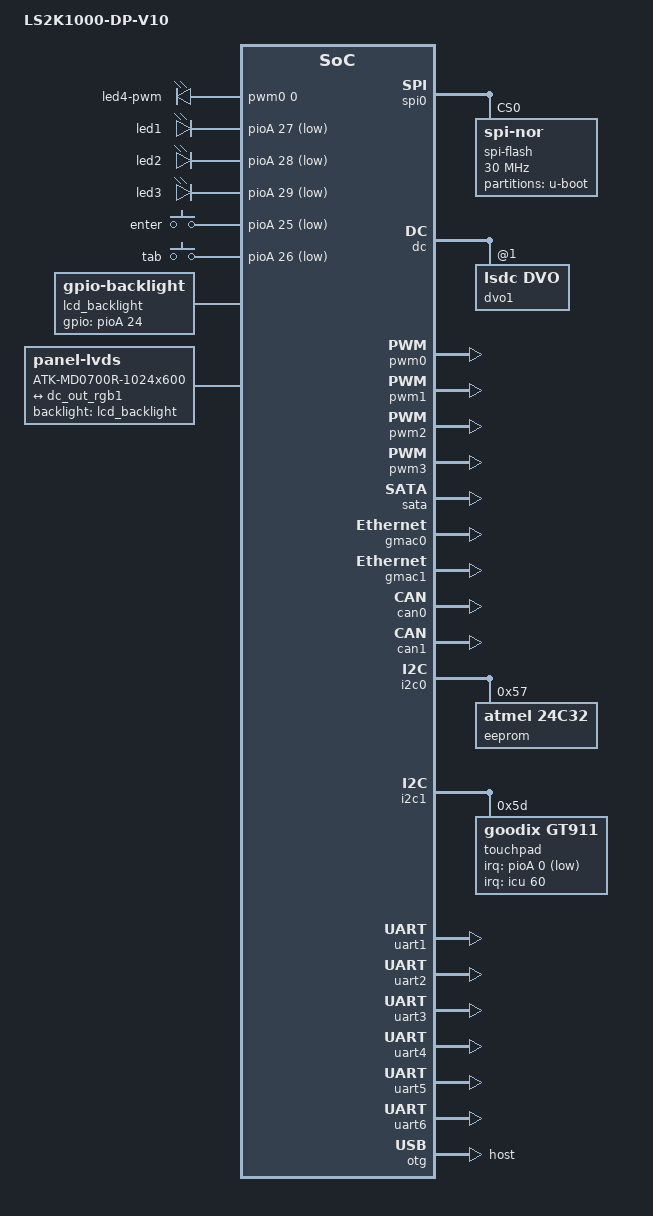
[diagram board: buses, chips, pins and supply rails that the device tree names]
#include "loongson2k1000.dtsi"
#include "loongson_panel_param.dtsi"

/ {
	model = "LS2K1000-DP-V10";

	chosen {
		stdout-path = "serial0:115200n8";
		bootargs = "earlycon";
	};

	/* not need memory node, we get memory info from boot params. */
	// memory {
	// 	name = "memory";
	// 	device_type = "memory";
	// 	reg =  <0 0x00200000 0 0x0ee00000
	// 		0 0x90000000 0 0x70000000>;
	// };

	reserved-memory {
		#address-cells = <2>;
		#size-cells = <2>;
		ranges;

		fb_memory: framebuffer {
			compatible = "shared-dma-pool";
			no-map;
			reg = <0 0x0b000000 0 0x04000000>; /* 64M */
		};

		linux,cma {
			compatible = "shared-dma-pool";
			reusable;
			size = <0 0x2000000>;
			linux,cma-default;
		};
	};

	pwmleds {
		compatible = "pwm-leds";

		led4 {
			label = "led4-pwm";
			pwms = <&pwm0 0 2550000>;
			max-brightness = <255>;
		};
	};

	leds {
		compatible = "gpio-leds";

		led1 {
			label = "led1";
			gpios = <&pioA 27 GPIO_ACTIVE_LOW>;
			linux,default-trigger = "heartbeat";
			default-state = "on";
		};

		led2 {
			label = "led2";
			gpios = <&pioA 28 GPIO_ACTIVE_LOW>;
			default-state = "off";
		};

		led3 {
			label = "led3";
			gpios = <&pioA 29 GPIO_ACTIVE_LOW>;
			default-state = "off";
		};
	};

	gpio_keys {
		compatible = "gpio-keys-polled";
		#address-cells = <1>;
		#size-cells = <0>;
		poll-interval = <20>;

		enter {
			label = "enter";
			linux,code = <28>;
			gpios = <&pioA 25 GPIO_ACTIVE_LOW>;
		};

		tab {
			label = "tab";
			linux,code = <15>;
			gpios = <&pioA 26 GPIO_ACTIVE_LOW>;
		};
	};

	lcd_backlight: backlight {
		compatible = "gpio-backlight";
		gpios = <&pioA 24 GPIO_ACTIVE_HIGH>;
		status = "okay";
	};

	panel: dvo-connector@0 {
		#address-cells = <1>;
		#size-cells = <0>;
		compatible = "panel-lvds", "auo,b101ean01";
		backlight = <&lcd_backlight>;

		/* lcd power on control gpio */
		/* enable-gpios = <&pioA 3 GPIO_ACTIVE_HIGH>; */
		// power-supply = <&vdd_lcd>;
		width-mm = <180>;
		height-mm = <110>;
		label = "ATK-MD0700R-1024x600";
		data-mapping = "jeida-24";

		status = "okay";

		panel-timing {
			clock-frequency = <51200000>;
			hactive = <1024>;
			vactive = <600>;
			hsync-len = <20>;
			hfront-porch = <160>;
			hback-porch = <140>;
			vfront-porch = <12>;
			vback-porch = <20>;
			vsync-len = <3>;
			de-active = <1>;
			hsync-active = <0>;
			vsync-active = <0>;
			pixelclk-active = <0>;
		};

		port@0 {
			reg = <0>;

			#address-cells = <1>;
			#size-cells = <0>;

			dvo_connector_in: endpoint@0 {
				reg = <0>;
				remote-endpoint = <&dc_out_rgb1>;
			};
		};
	};
};

&spi0 {
	status = "okay";

	spi-flash@0 {
		compatible = "jedec,spi-nor";
		spi-max-frequency = <30000000>;
		reg = <0>; /* CS0 */

		partitions {
			compatible = "fixed-partitions";
			#address-cells = <1>;
			#size-cells = <1>;

			partition@0 {
				label = "u-boot";
				reg = <0x0000000 0x100000>;
				read-only;
			};
		};
	};
};


&dc {
	status = "okay";
	#address-cells = <1>;
	#size-cells = <0>;
	memory-region = <&fb_memory>;

	// output-ports = <&dvo0>;

	dvo1: dvo@1 {
		compatible = "lsdc,dvo";
		/* 1 for connector 1 (DVO1) */
		reg = <1>;

		pinctrl-0 = <&dvo1_default>;
		pinctrl-names = "default";
	};

	ports {
		#address-cells = <1>;
		#size-cells = <0>;

		port@1 {
			reg = <1>;
			dc_out_rgb1: endpoint {
				remote-endpoint = <&dvo_connector_in>;
			};
		};
	};
};

&pwm0 {
	status = "okay";
};

&pwm1 {
	status = "okay";
};

&pwm2 {
	status = "okay";
};

&pwm3 {
	status = "okay";
};

&sata {
	status = "okay";
	pinctrl-0 = <&ahci_default>;
	pinctrl-names = "default";
	ports-implemented = <0x1>;
};

&gmac0 {
	status = "okay";
};

&gmac1 {
	status = "okay";
};


&can0 {
	//nxp,external-clock-frequency = <125000000>;
	clocks = <&clks CLK_CAN>;
	net,tx_queue_len = <1024>;
	status = "okay";
};

&can1 {
	//nxp,external-clock-frequency = <125000000>;
	clocks = <&clks CLK_CAN>;
	net,tx_queue_len = <1024>;
	status = "okay";
};

&i2c0 {
	status = "okay";

	eeprom@57 {
		compatible = "atmel,24c32";
		reg = <0x57>;
		pagesize = <32>;
	};
};

&i2c1 {
	status = "okay";

	touchpad: gt911@5d {
		compatible = "goodix,gt911";
		reg = <0x5d>;
		interrupt-parent = <&icu>;
		interrupts = <60>;
		irq-gpios = <&pioA 0 GPIO_ACTIVE_LOW>;
	};
};

&uart1 {
	status = "okay";
};

&uart2 {
	status = "okay";
};

&uart3 {
	status = "okay";
};

&uart4 {
	status = "okay";
};

&uart5 {
	status = "okay";
};

&uart6 {
	status = "okay";
};

&otg {
	dr_mode = "host";
	status = "okay";
};

